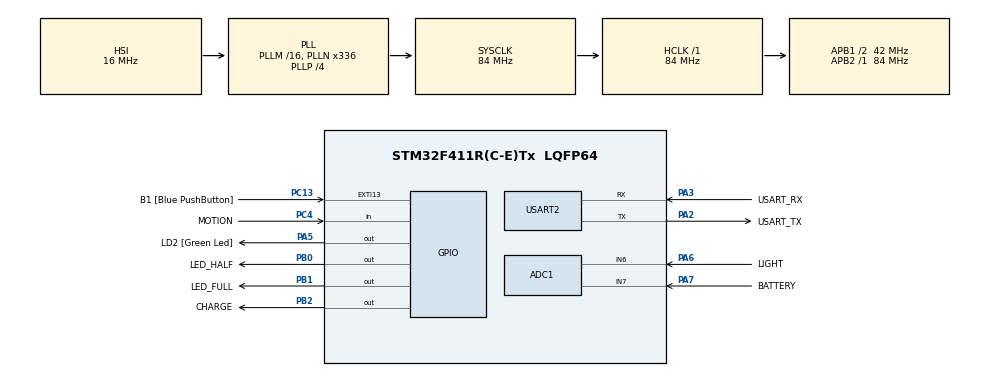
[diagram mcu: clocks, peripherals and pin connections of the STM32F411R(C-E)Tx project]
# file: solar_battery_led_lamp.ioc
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ADC1.Channel-0\#ChannelRegularConversion=ADC_CHANNEL_6
ADC1.NbrOfConversion=1
ADC1.NbrOfConversionFlag=1
ADC1.Rank-0\#ChannelRegularConversion=1
ADC1.SamplingTime-0\#ChannelRegularConversion=ADC_SAMPLETIME_3CYCLES
ADC1.ScanConvMode=ENABLE
ADC1.master=1
FREERTOS.HEAP_NUMBER=4
FREERTOS.Mutexes01=dataMutex,Dynamic,NULL,Available;ledMutex,Dynamic,NULL,Available;uartMutex,Dynamic,NULL,Available
FREERTOS.Tasks01=SensorTask,16,1024,StartSensorTask,Default,NULL,Dynamic,NULL,NULL;ControlTask,24,1024,StartControlTask,Default,NULL,Dynamic,NULL,NULL;DebugTask,8,2048,StartDebugTask,Default,NULL,Dynamic,NULL,NULL
FREERTOS.configTOTAL_HEAP_SIZE=20480
FREERTOS.configUSE_NEWLIB_REENTRANT=1
Mcu.Family=STM32F4
Mcu.Name=STM32F411R(C-E)Tx
Mcu.Package=LQFP64
NVIC.PriorityGroup=NVIC_PRIORITYGROUP_4
NVIC.TIM1_TRG_COM_TIM11_IRQn=true\:15\:0\:false\:false\:true\:false\:false\:true\:true
NVIC.TimeBase=TIM1_TRG_COM_TIM11_IRQn
NVIC.TimeBaseIP=TIM11
PA13.GPIO_Label=TMS
PA13.Mode=Serial_Wire
PA13.Signal=SYS_JTMS-SWDIO
PA14.GPIO_Label=TCK
PA14.Mode=Serial_Wire
PA14.Signal=SYS_JTCK-SWCLK
PA2.GPIO_Label=USART_TX
PA2.Mode=Asynchronous
PA2.Signal=USART2_TX
PA3.GPIO_Label=USART_RX
PA3.Mode=Asynchronous
PA3.Signal=USART2_RX
PA5.GPIO_Label=LD2 [Green Led]
PA5.Signal=GPIO_Output
PA6.GPIO_Label=LIGHT
PA6.Signal=ADCx_IN6
PA7.GPIO_Label=BATTERY
PA7.Signal=ADCx_IN7
PB0.GPIO_Label=LED_HALF
PB0.Signal=GPIO_Output
PB1.GPIO_Label=LED_FULL
PB1.Signal=GPIO_Output
PB2.GPIO_Label=CHARGE
PB2.Signal=GPIO_Output
PB3.GPIO_Label=SWO
PB3.Signal=SYS_JTDO-SWO
PC13-ANTI_TAMP.GPIO_Label=B1 [Blue PushButton]
PC13-ANTI_TAMP.GPIO_ModeDefaultEXTI=GPIO_MODE_IT_FALLING
PC13-ANTI_TAMP.Signal=GPXTI13
PC14-OSC32_IN.Signal=RCC_OSC32_IN
PC15-OSC32_OUT.Signal=RCC_OSC32_OUT
PC4.GPIO_Label=MOTION
PC4.Signal=GPIO_Input
PH0\ -\ OSC_IN.Mode=HSE-External-Clock-Source
PH0\ -\ OSC_IN.Signal=RCC_OSC_IN
PH1\ -\ OSC_OUT.Mode=HSE-External-Clock-Source
PH1\ -\ OSC_OUT.Signal=RCC_OSC_OUT
ProjectManager.HeapSize=0x200
ProjectManager.StackSize=0x400
ProjectManager.TargetToolchain=STM32CubeIDE
RCC.48MHZClocksFreq_Value=84000000
RCC.AHBFreq_Value=84000000
RCC.APB1CLKDivider=RCC_HCLK_DIV2
RCC.APB1Freq_Value=42000000
RCC.APB1TimFreq_Value=84000000
RCC.APB2Freq_Value=84000000
RCC.APB2TimFreq_Value=84000000
RCC.CortexFreq_Value=84000000
RCC.FLatency-AdvancedSettings=FLASH_LATENCY_2
RCC.HCLKFreq_Value=84000000
RCC.HSE_VALUE=8000000
RCC.HSI_VALUE=16000000
RCC.PLLN=336
RCC.PLLP=RCC_PLLP_DIV4
RCC.SYSCLKFreq_VALUE=84000000
RCC.SYSCLKSource=RCC_SYSCLKSOURCE_PLLCLK
RCC.VCOOutputFreq_Value=336000000
SH.ADCx_IN6.0=ADC1_IN6,IN6
SH.ADCx_IN7.0=ADC1_IN7,IN7
USART2.VirtualMode=VM_ASYNC
VP_FREERTOS_VS_CMSIS_V2.Mode=CMSIS_V2
VP_SYS_VS_tim11.Mode=TIM11
board=NUCLEO-F411RE

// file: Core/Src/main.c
/* USER CODE BEGIN Header */
/**
 ******************************************************************************
 * @file           : main.c
 * @brief          : Main program body
 ******************************************************************************
 * @attention
 *
 * Copyright (c) 2025 STMicroelectronics.
 * All rights reserved.
 *
 * This software is licensed under terms that can be found in the LICENSE file
 * in the root directory of this software component.
 * If no LICENSE file comes with this software, it is provided AS-IS.
 *
 ******************************************************************************
 */
/* USER CODE END Header */
#include "main.h"
#include "cmsis_os.h"

/* USER CODE BEGIN Includes */
#include "stm32f4xx_hal.h"
#include "cmsis_os2.h"
#include "string.h"
#include "calibration.h"
/* USER CODE END Includes */

ADC_HandleTypeDef hadc1;

UART_HandleTypeDef huart2;

/* Definitions for SensorTask */
osThreadId_t SensorTaskHandle;
const osThreadAttr_t SensorTask_attributes =
		{ .name = "SensorTask", .stack_size = 1024 * 4, .priority =
				(osPriority_t) osPriorityBelowNormal, };
/* Definitions for ControlTask */
osThreadId_t ControlTaskHandle;
const osThreadAttr_t ControlTask_attributes = { .name = "ControlTask",
		.stack_size = 1024 * 4, .priority = (osPriority_t) osPriorityNormal, };
/* Definitions for DebugTask */
osThreadId_t DebugTaskHandle;
const osThreadAttr_t DebugTask_attributes = { .name = "DebugTask", .stack_size =
		2048 * 4, .priority = (osPriority_t) osPriorityLow, };
/* Definitions for dataMutex */
osMutexId_t dataMutexHandle;
const osMutexAttr_t dataMutex_attributes = { .name = "dataMutex" };
/* Definitions for ledMutex */
osMutexId_t ledMutexHandle;
const osMutexAttr_t ledMutex_attributes = { .name = "ledMutex" };
/* Definitions for uartMutex */
osMutexId_t uartMutexHandle;
const osMutexAttr_t uartMutex_attributes = { .name = "uartMutex" };
/* USER CODE BEGIN PV */
SensorData_t g_sensorData;
FlashCalibrationBlock_t g_flashCalib;
volatile uint8_t g_debug_enabled = 0;	//debug mode ki-be kapcsolására
/* USER CODE END PV */

void SystemClock_Config(void);
static void MX_GPIO_Init(void);
static void MX_USART2_UART_Init(void);
static void MX_ADC1_Init(void);
void StartSensorTask(void *argument);
void StartControlTask(void *argument);
void StartDebugTask(void *argument);

int main(void) {

	/* MCU Configuration--------------------------------------------------------*/

	/* Reset of all peripherals, Initializes the Flash interface and the Systick. */
	HAL_Init();

	/* Configure the system clock */
	SystemClock_Config();

	/* Initialize all configured peripherals */
	MX_GPIO_Init();
	MX_USART2_UART_Init();
	MX_ADC1_Init();
	/* USER CODE BEGIN 2 */
	App_Calibration_Init();
	HAL_UART_Transmit(&huart2, (uint8_t*) "START\r\n", 7, 100);	//csak debug miatt, induláskor egyetlen üzenet
	/* USER CODE END 2 */

	/* Init scheduler */
	osKernelInitialize();
	/* Create the mutex(es) */
	/* creation of dataMutex */
	dataMutexHandle = osMutexNew(&dataMutex_attributes);

	/* creation of ledMutex */
	ledMutexHandle = osMutexNew(&ledMutex_attributes);

	/* creation of uartMutex */
	uartMutexHandle = osMutexNew(&uartMutex_attributes);

	/* Create the thread(s) */
	/* creation of SensorTask */
	SensorTaskHandle = osThreadNew(StartSensorTask, NULL,
			&SensorTask_attributes);

	/* creation of ControlTask */
	ControlTaskHandle = osThreadNew(StartControlTask, NULL,
			&ControlTask_attributes);

	/* creation of DebugTask */
	DebugTaskHandle = osThreadNew(StartDebugTask, NULL, &DebugTask_attributes);

	/* Start scheduler */
	osKernelStart();

	/* We should never get here as control is now taken by the scheduler */

	/* Infinite loop */
	while (1) {

	}
}

void SystemClock_Config(void) {
	RCC_OscInitTypeDef RCC_OscInitStruct = { 0 };
	RCC_ClkInitTypeDef RCC_ClkInitStruct = { 0 };

	/** Configure the main internal regulator output voltage
	 */
	__HAL_RCC_PWR_CLK_ENABLE();
	__HAL_PWR_VOLTAGESCALING_CONFIG(PWR_REGULATOR_VOLTAGE_SCALE1);

	/** Initializes the RCC Oscillators according to the specified parameters
	 * in the RCC_OscInitTypeDef structure.
	 */
	RCC_OscInitStruct.OscillatorType = RCC_OSCILLATORTYPE_HSI;
	RCC_OscInitStruct.HSIState = RCC_HSI_ON;
	RCC_OscInitStruct.HSICalibrationValue = RCC_HSICALIBRATION_DEFAULT;
	RCC_OscInitStruct.PLL.PLLState = RCC_PLL_ON;
	RCC_OscInitStruct.PLL.PLLSource = RCC_PLLSOURCE_HSI;
	RCC_OscInitStruct.PLL.PLLM = 16;
	RCC_OscInitStruct.PLL.PLLN = 336;
	RCC_OscInitStruct.PLL.PLLP = RCC_PLLP_DIV4;
	RCC_OscInitStruct.PLL.PLLQ = 4;
	if (HAL_RCC_OscConfig(&RCC_OscInitStruct) != HAL_OK) {
		Error_Handler();
	}

	/** Initializes the CPU, AHB and APB buses clocks
	 */
	RCC_ClkInitStruct.ClockType = RCC_CLOCKTYPE_HCLK | RCC_CLOCKTYPE_SYSCLK
			| RCC_CLOCKTYPE_PCLK1 | RCC_CLOCKTYPE_PCLK2;
	RCC_ClkInitStruct.SYSCLKSource = RCC_SYSCLKSOURCE_PLLCLK;
	RCC_ClkInitStruct.AHBCLKDivider = RCC_SYSCLK_DIV1;
	RCC_ClkInitStruct.APB1CLKDivider = RCC_HCLK_DIV2;
	RCC_ClkInitStruct.APB2CLKDivider = RCC_HCLK_DIV1;

	if (HAL_RCC_ClockConfig(&RCC_ClkInitStruct, FLASH_LATENCY_2) != HAL_OK) {
		Error_Handler();
	}
}

static void MX_ADC1_Init(void) {

	/** Configure the global features of the ADC (Clock, Resolution, Data Alignment and number of conversion)
	 */
	hadc1.Instance = ADC1;
	hadc1.Init.ClockPrescaler = ADC_CLOCK_SYNC_PCLK_DIV4;
	hadc1.Init.Resolution = ADC_RESOLUTION_12B;
	hadc1.Init.ScanConvMode = ENABLE;
	hadc1.Init.ContinuousConvMode = DISABLE;
	hadc1.Init.DiscontinuousConvMode = DISABLE;
	hadc1.Init.ExternalTrigConvEdge = ADC_EXTERNALTRIGCONVEDGE_NONE;
	hadc1.Init.ExternalTrigConv = ADC_SOFTWARE_START;
	hadc1.Init.DataAlign = ADC_DATAALIGN_RIGHT;
	hadc1.Init.NbrOfConversion = 2;
	hadc1.Init.DMAContinuousRequests = DISABLE;
	hadc1.Init.EOCSelection = ADC_EOC_SINGLE_CONV;
	if (HAL_ADC_Init(&hadc1) != HAL_OK) {
		Error_Handler();
	}

}

static void MX_USART2_UART_Init(void) {

	huart2.Instance = USART2;
	huart2.Init.BaudRate = 115200;
	huart2.Init.WordLength = UART_WORDLENGTH_8B;
	huart2.Init.StopBits = UART_STOPBITS_1;
	huart2.Init.Parity = UART_PARITY_NONE;
	huart2.Init.Mode = UART_MODE_TX_RX;
	huart2.Init.HwFlowCtl = UART_HWCONTROL_NONE;
	huart2.Init.OverSampling = UART_OVERSAMPLING_16;
	if (HAL_UART_Init(&huart2) != HAL_OK) {
		Error_Handler();
	}

}

static void MX_GPIO_Init(void) {
	GPIO_InitTypeDef GPIO_InitStruct = { 0 };

	/* GPIO Ports Clock Enable */
	__HAL_RCC_GPIOC_CLK_ENABLE();
	__HAL_RCC_GPIOH_CLK_ENABLE();
	__HAL_RCC_GPIOA_CLK_ENABLE();
	__HAL_RCC_GPIOB_CLK_ENABLE();

	/*Configure GPIO pin Output Level */
	HAL_GPIO_WritePin(LD2_GPIO_Port, LD2_Pin, GPIO_PIN_RESET);

	/*Configure GPIO pin Output Level */
	HAL_GPIO_WritePin(GPIOB, LED_HALF_Pin | LED_FULL_Pin | CHARGE_Pin,
			GPIO_PIN_RESET);

	/*Configure GPIO pin : B1_Pin */
	GPIO_InitStruct.Pin = B1_Pin;
	GPIO_InitStruct.Mode = GPIO_MODE_IT_FALLING;
	GPIO_InitStruct.Pull = GPIO_NOPULL;
	HAL_GPIO_Init(B1_GPIO_Port, &GPIO_InitStruct);

	/*Configure GPIO pin : LD2_Pin */
	GPIO_InitStruct.Pin = LD2_Pin;
	GPIO_InitStruct.Mode = GPIO_MODE_OUTPUT_PP;
	GPIO_InitStruct.Pull = GPIO_NOPULL;
	GPIO_InitStruct.Speed = GPIO_SPEED_FREQ_LOW;
	HAL_GPIO_Init(LD2_GPIO_Port, &GPIO_InitStruct);

	/*Configure GPIO pin : MOTION_Pin */
	GPIO_InitStruct.Pin = MOTION_Pin;
	GPIO_InitStruct.Mode = GPIO_MODE_INPUT;
	GPIO_InitStruct.Pull = GPIO_NOPULL;
	HAL_GPIO_Init(MOTION_GPIO_Port, &GPIO_InitStruct);

	/*Configure GPIO pins : LED_HALF_Pin LED_FULL_Pin CHARGE_Pin */
	GPIO_InitStruct.Pin = LED_HALF_Pin | LED_FULL_Pin | CHARGE_Pin;
	GPIO_InitStruct.Mode = GPIO_MODE_OUTPUT_PP;
	GPIO_InitStruct.Pull = GPIO_NOPULL;
	GPIO_InitStruct.Speed = GPIO_SPEED_FREQ_LOW;
	HAL_GPIO_Init(GPIOB, &GPIO_InitStruct);

	/* USER CODE BEGIN MX_GPIO_Init_2 */
	/*Configure GPIO pins : LIGHT_Pin BATTERY_Pin */
	GPIO_InitStruct.Pin = LIGHT_Pin | BATTERY_Pin;
	GPIO_InitStruct.Mode = GPIO_MODE_ANALOG;
	GPIO_InitStruct.Pull = GPIO_NOPULL;
	HAL_GPIO_Init(GPIOA, &GPIO_InitStruct);
	/* USER CODE END MX_GPIO_Init_2 */
}

void StartSensorTask(void *argument) {
	/* USER CODE BEGIN 5 */
	// Nyers ADC értékek ide kerülnek beolvasáskor
	uint16_t raw_light = 0;
	uint16_t raw_battery = 0;

	// Kalibrált (interpolált) értékek ide kerülnek
	float calibrated_light = 0.0f;
	float calibrated_battery = 0.0f;
	// ADC csatorna konfigurációs struktúra (halhoz tartozik)
	ADC_ChannelConfTypeDef sConfig = { 0 };
	/* Infinite loop */
	for (;;) {
		// 1.: FÉNYÉRZÉKELŐ ADC (ADC_CHANNEL_6)
		sConfig.Channel = ADC_CHANNEL_6;      // ADC bemenet kiválasztása (első)
		sConfig.Rank = 1; // első a konverziós sorban (de az önálló mérések miatt mindíg rank1)
		sConfig.SamplingTime = ADC_SAMPLETIME_480CYCLES; // hosszú mintavételi idő, stabilabb

		if (HAL_ADC_ConfigChannel(&hadc1, &sConfig) == HAL_OK) {
			HAL_ADC_Start(&hadc1);  // mérés indítása
			if (HAL_ADC_PollForConversion(&hadc1, 100) == HAL_OK) {
				raw_light = HAL_ADC_GetValue(&hadc1); // nyers ADC érték kiolvasása
			} else {
				cli_printf("SensorTask: light ADC conversion timeout!\r\n");
				raw_light = 0;
			}
			HAL_ADC_Stop(&hadc1); // konverzió leállítása
		} else {
			cli_printf("SensorTask: light ADC config error!\r\n");
			raw_light = 0;
		}

		// 2.: AKKUFESZÜLTSÉG ADC (ADC_CHANNEL_7)
		sConfig.Channel = ADC_CHANNEL_7;        // második ADC bemenet
		sConfig.Rank = 1;                       // önálló mérések, mindig rank 1
		sConfig.SamplingTime = ADC_SAMPLETIME_480CYCLES;

		if (HAL_ADC_ConfigChannel(&hadc1, &sConfig) == HAL_OK) {
			HAL_ADC_Start(&hadc1);
			if (HAL_ADC_PollForConversion(&hadc1, 100) == HAL_OK) {
				raw_battery = HAL_ADC_GetValue(&hadc1);
			} else {
				cli_printf("SensorTask: battery ADC conversion timeout!\r\n");
				raw_battery = 0;
			}
			HAL_ADC_Stop(&hadc1);
		}
		else {
			cli_printf("SensorTask: battery ADC config error!\r\n");
			raw_battery = 0;
		}

		// 3.: KALIBRÁCIÓ – interpolált értékek kiszámítása a calibration.c-ben
		//így garantáltan nem marad érvénytelen vagy értelmezhetetlen érték a mérés után!
		if (!CalibrateValue(&g_flashCalib.light, raw_light,
				&calibrated_light)) {
			calibrated_light = 0.0f;
		}
		if (!CalibrateValue(&g_flashCalib.battery, raw_battery,
				&calibrated_battery)) {
			calibrated_battery = 0.0f;
		}
		// Ha a kalibrációs adatok nem érvényesek, az eredmény 0 marad

		// 4.: ADATOK MENTÉSE A GLOBÁLIS STRUKTÚRÁBA (mutex védelem mellett)
		if (osMutexAcquire(dataMutexHandle, 100) == osOK) {
			// Kritikus szakasz – csak 1 task férhet hozzá egyszerre
			g_sensorData.lightLevel = calibrated_light;
			g_sensorData.batteryVoltage = calibrated_battery;
			g_sensorData.raw_light = raw_light;
			g_sensorData.raw_battery = raw_battery;
			osMutexRelease(dataMutexHandle);
		}
		if (g_debug_enabled) {
					cli_printf("SensorTask: raw_light=%u, raw_battery=%u\r\n",
							raw_light, raw_battery);
				}
		osDelay(500);
	}
	/* USER CODE END 5 */
}

void StartControlTask(void *argument) {
	/* USER CODE BEGIN StartControlTask */
	//feltételezés: fényérzékelő 0-3.3V; akkumulátor 3.2-4.2V (standard 3.7V-os cella)
	{
		float light = 0.0f;
		float voltage = 0.0f;
		GPIO_PinState motion = GPIO_PIN_RESET;
		uint8_t led_half = 0, led_full = 0, charging = 0;

		uint8_t was_motion = 0;
		uint32_t full_brightness_timer = 0; // ms-ben számlál, de osDelay(500) miatt ciklusszámlálóként használjuk

		/* Infinite loop */
		for (;;) {
			// 1. Szenzoradatok mutex-el
			if (osMutexAcquire(dataMutexHandle, 100) == osOK) {
				light = g_sensorData.lightLevel;
				voltage = g_sensorData.batteryVoltage;
				osMutexRelease(dataMutexHandle);
			}

			// 2. Mozgásérzékelő olvasása
			motion = HAL_GPIO_ReadPin(MOTION_GPIO_Port, MOTION_Pin);

			// 3. Logika: alapértelmezés (mindent kikapcsol)
			led_half = 0;
			led_full = 0;
			charging = 0;

			// 4. Akku < 15% → minden kikapcsol
			if (voltage < 3.35f) {	//3.2+0.15=3.35
				// Nincs világítás, töltés se
				led_half = 0;
				led_full = 0;
				charging = 0;

				if (g_debug_enabled) {
					cli_printf("Battery depleted! Everything off.\r\n");
				}
			}
			// 5. Fény > 50% (1,65V) → töltés bekapcsol, LED-ek off
			else if (light > 1.65f) {	//3.3*0,5=1.65
				if (voltage < 4.15f) { // csak 95% battery alatt (3.2+0.95=4.15)
					charging = 1;
					led_half = 0;
					led_full = 0;

					if (g_debug_enabled) {
						cli_printf("Bright. Charging on.\r\n");
					}

				} else {
					// Akku már elérte a 95%-ot → töltés leáll
					charging = 0;
					led_half = 0;
					led_full = 0;

					if (g_debug_enabled) {
						cli_printf(
								"Battery has reached 95%%, charging stops.\r\n");
					}
				}
			}
			// 6. Fény < 15% (0,495V) és akku >= 35% (3,55V) → fél fény
			else if ((light < 0.495f) && (voltage >= 3.55f)) {
				// Mozgás kezelés
				if (motion == GPIO_PIN_SET) {
					was_motion = 1;
					full_brightness_timer = 50; // 25s/0.5s = 50 ciklus
				}

				if (was_motion && full_brightness_timer > 0) {
					led_half = 0;
					led_full = 1;
					full_brightness_timer--;
					// Ha új mozgás, időzítő újraindul
				} else {
					led_half = 1;
					led_full = 0;
				}

				if (motion == GPIO_PIN_RESET && full_brightness_timer == 0) {
					was_motion = 0; // visszaáll, ha letelt az időzítő és nincs mozgás
				}
			}
			// 7. Egyéb helyzetek: alapból minden lekapcsol
			else {
				led_half = 0;
				led_full = 0;
				charging = 0;
			}

			// 8. GPIO kimenetek beállítása (mutex védelem!)
			if (osMutexAcquire(ledMutexHandle, 50) == osOK) {
				HAL_GPIO_WritePin(LED_HALF_GPIO_Port, LED_HALF_Pin,
						led_half ? GPIO_PIN_SET : GPIO_PIN_RESET);
				HAL_GPIO_WritePin(LED_FULL_GPIO_Port, LED_FULL_Pin,
						led_full ? GPIO_PIN_SET : GPIO_PIN_RESET);
				HAL_GPIO_WritePin(CHARGE_GPIO_Port, CHARGE_Pin,
						charging ? GPIO_PIN_SET : GPIO_PIN_RESET);
				osMutexRelease(ledMutexHandle);
			}

			// 9. DEBUG kiírás (opcionális, csak parancsra indul, cli.c-ben "debug")

			if (g_debug_enabled) {
				// Első sor: csak float
				cli_printf("ControlTask: Battery=%.2f V\r\n", voltage);
				cli_printf("ControlTask: Light=%.2f V\r\n", light);

				// Második sor: csak int
				cli_printf(
						"ControlTask: Motion=%d, LED_HALF=%d, LED_FULL=%d, CHARGE=%d\r\n",
						(motion == GPIO_PIN_SET) ? 1 : 0, led_half, led_full,
						charging);
			}
			osDelay(500); // 500 ms periódus (2 Hz)
		}
		/* USER CODE END StartControlTask */
	}
}

void StartDebugTask(void *argument) {
	/* USER CODE BEGIN StartDebugTask */

	char buffer[64];
	uint8_t idx = 0;
	uint8_t ch = 0;

	//cli_printf("DebugTask started!\r\n");	//debug miatt

	/* Infinite loop */
	for (;;) {
		idx = 0;
		memset(buffer, 0, sizeof(buffer));

		// Karakteres beolvasás
		while (1) {
			if (HAL_UART_Receive(&huart2, &ch, 1, HAL_MAX_DELAY) == HAL_OK) {
				HAL_UART_Transmit(&huart2, &ch, 1, 10); // Echo

				// Sorvégződés CR vagy LF
				if (ch == '\r' || ch == '\n') {
					buffer[idx] = '\0';
					break;
				} else if (idx < sizeof(buffer) - 1) {
					buffer[idx++] = ch;
				}
			}
		}
		//CleanInput(buffer);		//cli-c-ben megírva, helper fgv.
		if (!CLI_ProcessCommand(buffer)) {
			cli_printf("Command processing failed.\r\n");
		}
	}
}

void HAL_TIM_PeriodElapsedCallback(TIM_HandleTypeDef *htim) {
	if (htim->Instance == TIM11) {
		HAL_IncTick();
	}
}

void Error_Handler(void) {
	__disable_irq();
	while (1) {
	}
}
